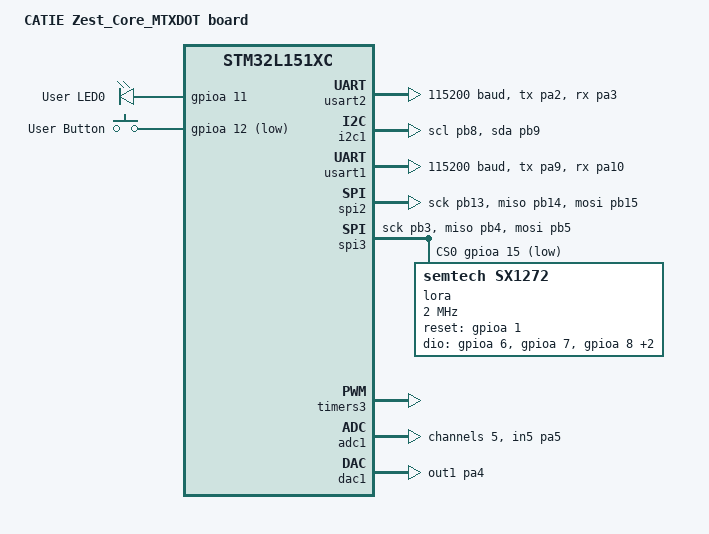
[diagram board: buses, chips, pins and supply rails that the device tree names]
/*
 * Copyright (c) 2025 CATIE
 * SPDX-License-Identifier: Apache-2.0
 */

/dts-v1/;
#include <st/l1/stm32l151Xc.dtsi>
#include <st/l1/stm32l151ccux-pinctrl.dtsi>
#include <zephyr/dt-bindings/input/input-event-codes.h>
#include "sixtron_connector.dtsi"

/ {
	model = "CATIE Zest_Core_MTXDOT board";
	compatible = "catie,zest-core-mtxdot";

	chosen {
		zephyr,console = &usart2;
		zephyr,shell-uart = &usart2;
		zephyr,sram = &sram0;
		zephyr,flash = &flash0;
	};

	leds {
		compatible = "gpio-leds";
		led_0: led_0 {
			gpios = <&gpioa 11 GPIO_ACTIVE_HIGH>;
			label = "User LED0";
		};
	};

	gpio_keys {
		compatible = "gpio-keys";
		user_button: button {
			label = "User Button";
			gpios = <&gpioa 12 GPIO_ACTIVE_LOW>;
			zephyr,code = <INPUT_BTN_0>;
		};
	};

	aliases {
		led0 = &led_0;
		sw0 = &user_button;
		lora0 = &lora;
	};
};

&clk_hsi {
	status = "okay";
};

&pll {
	div = <2>;
	mul = <4>;
	clocks = <&clk_hsi>;
	status = "okay";
};

&rcc {
	clocks = <&pll>;
	clock-frequency = <DT_FREQ_M(32)>;
	ahb-prescaler = <1>;
	apb1-prescaler = <1>;
	apb2-prescaler = <1>;
};

&usart2 {
	pinctrl-0 = <&usart2_tx_pa2 &usart2_rx_pa3>;
	pinctrl-names = "default";
	current-speed = <115200>;
	status = "okay";
};

&i2c1 {
	pinctrl-0 = <&i2c1_scl_pb8 &i2c1_sda_pb9>;
	pinctrl-names = "default";
	status = "okay";
};

&usart1 {
	pinctrl-0 = <&usart1_tx_pa9 &usart1_rx_pa10>;
	pinctrl-names = "default";
	current-speed = <115200>;
	status = "okay";
};

&spi2 {
	pinctrl-0 = <&spi2_sck_pb13 &spi2_miso_pb14 &spi2_mosi_pb15>;
	pinctrl-names = "default";
	cs-gpios = <&gpiob 12 GPIO_ACTIVE_LOW>;
	status = "okay";
};

&spi3 {
	pinctrl-0 = <&spi3_sck_pb3 &spi3_miso_pb4 &spi3_mosi_pb5>;
	pinctrl-names = "default";
	cs-gpios = <&gpioa 15 GPIO_ACTIVE_LOW>;
	status = "okay";

	lora: sx1272@0 {
		compatible = "semtech,sx1272";
		reg = <0x0>;
		reset-gpios = <&gpioa 1 (GPIO_OPEN_DRAIN | GPIO_ACTIVE_HIGH)>;
		dio-gpios = <&gpioa 6 (GPIO_PULL_DOWN | GPIO_ACTIVE_HIGH)>,
			    <&gpioa 7 (GPIO_PULL_DOWN | GPIO_ACTIVE_HIGH)>,
			    <&gpioa 8 (GPIO_PULL_DOWN | GPIO_ACTIVE_HIGH)>,
			    <&gpiob 1 (GPIO_PULL_DOWN | GPIO_ACTIVE_HIGH)>,
			    <&gpioc 13 (GPIO_PULL_DOWN | GPIO_ACTIVE_HIGH)>;
		spi-max-frequency = <2000000>;
		power-amplifier-output = "pa-boost";
	};
};

&timers3 {
	st,prescaler = <0>;
	status = "okay";

	pwm1: pwm {
		pinctrl-0 = <&tim3_ch3_pb0>;
		pinctrl-names = "default";
		status = "okay";
	};
};

&adc1 {
	pinctrl-0 = <&adc_in5_pa5>;
	pinctrl-names = "default";
	st,adc-clock-source = "SYNC";
	st,adc-prescaler = <4>;
	status = "okay";

	#address-cells = <1>;
	#size-cells = <0>;

	channel@5 {
		reg = <5>;
		zephyr,gain = "ADC_GAIN_1";
		zephyr,reference = "ADC_REF_INTERNAL";
		zephyr,acquisition-time = <ADC_ACQ_TIME_DEFAULT>;
		zephyr,resolution = <12>;
	};
};

&dac1 {
	pinctrl-0 = <&dac_out1_pa4>;
	pinctrl-names = "default";
	status = "okay";
};
